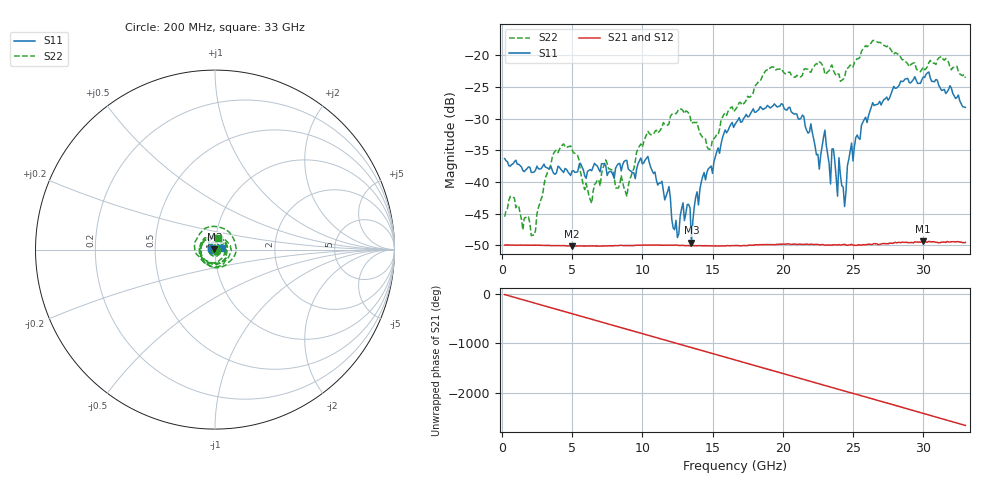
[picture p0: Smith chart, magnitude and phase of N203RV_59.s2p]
# GHZ S RI R 50
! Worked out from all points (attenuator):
!   329 points, 200 MHz to 33 GHz, reference 50 ohm
!   highest |S21| = -49.34 dB at 30 GHz (marker M1); lowest = -50.1 dB at 5 GHz (marker M2)
!   lowest |S11| = -49.6 dB at 13.5 GHz (marker M3), VSWR 1.01, Z = 49.7 + j0.089 ohm
!   |S11| at or under -10 dB: start of sweep to end of sweep
!   |S22| runs from -48.5 to -17.6 dB; largest |S21 - S12| = 7.2e-05
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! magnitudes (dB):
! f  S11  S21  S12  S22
! 200 MHz  -36.3  -50.0  -49.9  -45.5
! 2.3 GHz  -38.4  -50.0  -50.0  -48.4
! 3.7 GHz  -38.7  -50.0  -50.0  -35.4
! 5 GHz  -38.3  -50.1  -50.1  -34.8
! 5.7 GHz  -37.6  -50.1  -50.1  -39.5
! 8.9 GHz  -36.6  -50.0  -50.0  -42.3
! 11.2 GHz  -40.2  -50.0  -49.9  -32.0
! 13.5 GHz  -49.6  -50.1  -50.0  -30.7
! 14.4 GHz  -38.5  -50.1  -50.0  -33.0
! 16.6 GHz  -30.9  -50.0  -50.0  -28.6
! 22.1 GHz  -32.2  -49.9  -49.8  -22.1
! 22.6 GHz  -38.0  -49.9  -49.9  -21.0
! 23 GHz  -31.8  -50.0  -49.9  -23.0
! 23.4 GHz  -40.3  -50.0  -50.0  -21.8
! 23.6 GHz  -34.8  -49.9  -49.9  -22.3
! 23.9 GHz  -42.2  -50.0  -49.9  -22.9
! 24 GHz  -36.1  -49.9  -49.9  -22.9
! 24.4 GHz  -43.9  -49.9  -49.8  -23.5
! 24.9 GHz  -33.8  -49.9  -49.9  -21.6
! 27.6 GHz  -26.7  -49.6  -49.7  -18.8
! 30 GHz  -23.4  -49.3  -49.4  -21.8
! 33 GHz  -28.2  -49.6  -49.6  -23.5
